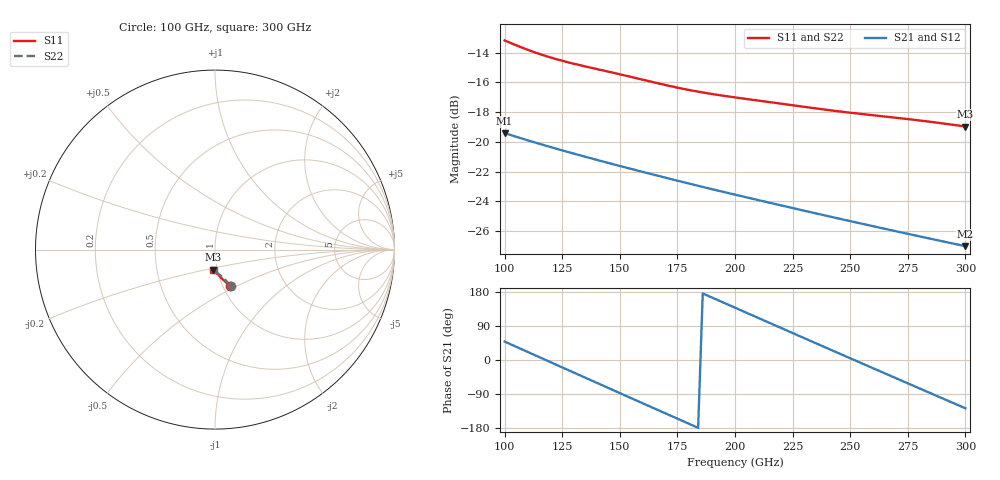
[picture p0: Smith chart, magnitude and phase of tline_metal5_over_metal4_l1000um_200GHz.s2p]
#  GHZ S DB R 50
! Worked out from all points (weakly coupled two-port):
!   101 points, 100 GHz to 300 GHz, reference 50 ohm
!   highest |S21| = -19.41 dB at 100 GHz (marker M1); lowest = -27.0 dB at 300 GHz (marker M2)
!   lowest |S11| = -19.0 dB at 300 GHz (marker M3), VSWR 1.25, Z = 47.7 - j10.8 ohm
!   |S11| at or under -10 dB: start of sweep to end of sweep
!   |S22| runs from -18.9 to -13.2 dB; largest |S21 - S12| = 1e-13
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100  -13.17 -68.4  -19.41 48.6  -19.41 48.6  -13.19 -66.7
108  -13.68 -69.8  -19.80 26.8  -19.80 26.8  -13.70 -68.0
116  -14.13 -70.9  -20.17 5.0  -20.17 5.0  -14.15 -69.0
124  -14.50 -71.9  -20.53 -16.8  -20.53 -16.8  -14.52 -69.8
134  -14.88 -73.3  -20.96 -43.9  -20.96 -43.9  -14.90 -71.0
142  -15.17 -74.6  -21.29 -65.6  -21.29 -65.6  -15.18 -72.2
150  -15.45 -76.0  -21.62 -87.3  -21.62 -87.3  -15.46 -73.4
158  -15.74 -77.3  -21.94 -108.9  -21.94 -108.9  -15.75 -74.6
168  -16.11 -78.8  -22.34 -135.9  -22.34 -135.9  -16.10 -75.9
176  -16.38 -79.8  -22.65 -157.5  -22.65 -157.5  -16.35 -76.8
184  -16.62 -80.6  -22.95 -179.0  -22.95 -179.0  -16.57 -77.7
192  -16.82 -81.5  -23.25 159.5  -23.25 159.5  -16.75 -78.6
200  -17.01 -82.4  -23.55 138.0  -23.55 138.0  -16.92 -79.6
208  -17.18 -83.5  -23.84 116.6  -23.84 116.6  -17.08 -80.7
216  -17.34 -84.5  -24.13 95.2  -24.13 95.2  -17.24 -82.0
224  -17.51 -85.6  -24.41 73.8  -24.41 73.8  -17.42 -83.2
234  -17.72 -87.0  -24.77 47.2  -24.77 47.2  -17.65 -84.7
250  -18.03 -89.0  -25.33 4.6  -25.33 4.6  -18.01 -86.8
258  -18.17 -90.0  -25.61 -16.6  -25.61 -16.6  -18.17 -87.8
268  -18.34 -91.3  -25.95 -43.1  -25.95 -43.1  -18.36 -89.0
284  -18.63 -93.5  -26.49 -85.3  -26.49 -85.3  -18.66 -91.0
300  -18.96 -95.6  -27.02 -127.4  -27.02 -127.4  -18.95 -92.8
